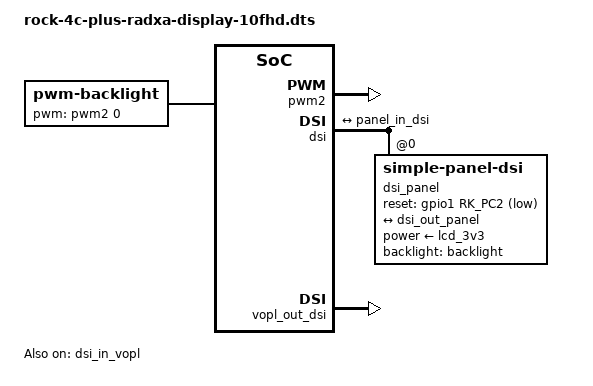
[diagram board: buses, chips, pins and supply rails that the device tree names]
/dts-v1/;
/plugin/;

#include <dt-bindings/gpio/gpio.h>
#include <dt-bindings/pinctrl/rockchip.h>
#include <dt-bindings/display/drm_mipi_dsi.h>
#include <dt-bindings/interrupt-controller/irq.h>

/ {
	metadata {
		title = "Enable Radxa Display 10FHD";
		compatible = "radxa,rock-4c-plus";
		category = "display";
		description = "Enable Radxa Display 10FHD";
	};

	fragment@0 {
		target-path = "/";

		__overlay__ {
			backlight: backlight {
				status = "okay";
				compatible = "pwm-backlight";
				pwms = <&pwm2 0 25000 0>;
				brightness-levels = <
					  0  20  20  21  21  22  22  23
					 23  24  24  25  25  26  26  27
					 27  28  28  29  29  30  30  31
					 31  32  32  33  33  34  34  35
					 35  36  36  37  37  38  38  39
					 40  41  42  43  44  45  46  47
					 48  49  50  51  52  53  54  55
					 56  57  58  59  60  61  62  63
					 64  65  66  67  68  69  70  71
					 72  73  74  75  76  77  78  79
					 80  81  82  83  84  85  86  87
					 88  89  90  91  92  93  94  95
					 96  97  98  99 100 101 102 103
					104 105 106 107 108 109 110 111
					112 113 114 115 116 117 118 119
					120 121 122 123 124 125 126 127
					128 129 130 131 132 133 134 135
					136 137 138 139 140 141 142 143
					144 145 146 147 148 149 150 151
					152 153 154 155 156 157 158 159
					160 161 162 163 164 165 166 167
					168 169 170 171 172 173 174 175
					176 177 178 179 180 181 182 183
					184 185 186 187 188 189 190 191
					192 193 194 195 196 197 198 199
					200 201 202 203 204 205 206 207
					208 209 210 211 212 213 214 215
					216 217 218 219 220 221 222 223
					224 225 226 227 228 229 230 231
					232 233 234 235 236 237 238 239
					240 241 242 243 244 245 246 247
					248 249 250 251 252 253 254 255
				>;
				default-brightness-level = <200>;
			};
		};
	};

	fragment@1 {
		target = <&pwm2>;

		__overlay__ {
			status = "okay";
		};
	};

	fragment@2 {
		target = <&dsi>;

		__overlay__ {
			status = "okay";

			#address-cells = <1>;
			#size-cells = <0>;

			ports {
				#address-cells = <1>;
				#size-cells = <0>;

				port@1 {
					reg = <1>;
					dsi_out_panel: endpoint {
						remote-endpoint = <&panel_in_dsi>;
					};
				};
			};

			dsi_panel: dsi-panel@0 {
				status = "okay";
				compatible = "simple-panel-dsi";
				reg = <0>;

				backlight = <&backlight>;
				power-supply = <&lcd_3v3>;

				reset-gpios = <&gpio1 RK_PC2 GPIO_ACTIVE_LOW>;

				pinctrl-names = "default";
				pinctrl-0 = <&lcd_panel_reset>;

				prepare-delay-ms = <120>;
				reset-delay-ms = <120>;
				init-delay-ms = <120>;
				enable-delay-ms = <100>;
				disable-delay-ms = <120>;
				unprepare-delay-ms = <120>;

				width-mm = <62>;
				height-mm = <110>;

				dsi,flags = <(MIPI_DSI_MODE_VIDEO | MIPI_DSI_MODE_VIDEO_BURST |
				MIPI_DSI_MODE_LPM | MIPI_DSI_MODE_EOT_PACKET)>;
				dsi,format = <MIPI_DSI_FMT_RGB888>;
				dsi,lanes = <4>;

				panel-init-sequence = [
					05 78 01 11
					05 00 01 29
				];

				panel-exit-sequence = [
					05 00 01 28
					05 00 01 10
				];

				display-timings {
					native-mode = <&timing0>;
					timing0: timing0 {
						clock-frequency = <160000000>;
						hactive = <1200>;
						vactive = <1920>;

						vback-porch = <25>;
						vfront-porch = <35>;

						hback-porch = <60>;
						hfront-porch = <80>;

						hsync-len = <4>;
						vsync-len = <4>;

						vsync-active = <0>;
						hsync-active = <0>;
						de-active = <0>;
						pixelclk-active = <0>;
					};
				};

				ports {
					#address-cells = <1>;
					#size-cells = <0>;

					port@0 {
						reg = <0>;
						panel_in_dsi: endpoint {
							remote-endpoint = <&dsi_out_panel>;
						};
					};
				};
			};
		};
	};

	fragment@3 {
		target = <&vopl_out_dsi>;

		__overlay__ {
			status = "okay";
		};
	};

	fragment@4 {
		target = <&dsi_in_vopl>;

		__overlay__ {
			status = "okay";
		};
	};

	fragment@5 {
		target = <&dsi_in_vopb>;

		__overlay__ {
			status = "disabled";
		};
	};

	fragment@6 {
		target = <&route_dsi>;

		__overlay__ {
			status = "disabled";
			connect = <&vopl_out_dsi>;
		};
	};

	fragment@7 {
		target = <&vcc3v3_dp>;

		__overlay__ {
			status = "disabled";
		};
	};

	fragment@8 {
		target = <&virtual_pd>;

		__overlay__ {
			status = "disabled";
		};
	};

	fragment@9 {
		target = <&tcphy0>;

		__overlay__ {
			status = "disabled";
		};
	};

	fragment@10 {
		target = <&cdn_dp>;

		__overlay__ {
			status = "disabled";
		};
	};

	fragment@11 {
		target = <&tcphy0_dp>;

		__overlay__ {
			status = "disabled";
		};
	};

	fragment@12 {
		target = <&dp_in_vopl>;

		__overlay__ {
			status = "disabled";
		};
	};

	fragment@13 {
		target = <&dp_in_vopb>;

		__overlay__ {
			status = "disabled";
		};
	};

	fragment@14 {
		target = <&pinctrl>;

		__overlay__ {
			lcd-panel {
				lcd_panel_reset: lcd-panel-reset {
					rockchip,pins =
						<1 RK_PC2 RK_FUNC_GPIO &pcfg_pull_up>;
				};
			};
		};
	};
};
